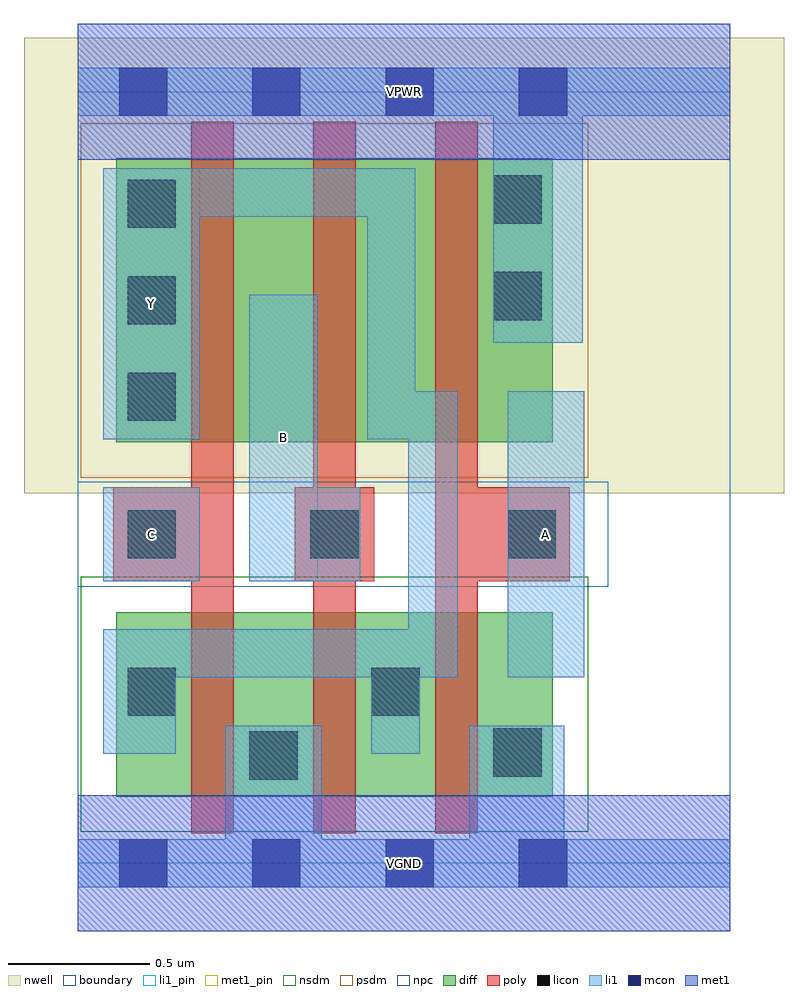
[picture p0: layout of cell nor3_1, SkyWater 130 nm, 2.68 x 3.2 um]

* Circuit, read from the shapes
.subckt nor3_1 A B C VGND VPWR Y
XM1 VGND C Y VSUBS sky130_fd_pr__nfet_01v8 w=0.65 l=0.15
XM2 Y B VGND VSUBS sky130_fd_pr__nfet_01v8 w=0.65 l=0.15
XM3 VGND A Y VSUBS sky130_fd_pr__nfet_01v8 w=0.65 l=0.15
XM4 n1 C Y n2 sky130_fd_pr__pfet_01v8 w=1 l=0.15
XM5 n3 B n1 n2 sky130_fd_pr__pfet_01v8 w=1 l=0.15
XM6 VPWR A n3 n2 sky130_fd_pr__pfet_01v8 w=1 l=0.15
.ends

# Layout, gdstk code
import gdstk
lib = gdstk.Library(unit=1e-6, precision=1e-09)
def R(c, l, rs):  # rectangles x0, y0, x1, y1
    for r in rs: c.add(gdstk.rectangle(r[:2], r[2:], *l))
def A(c, l, x, y, w, h, nx, ny, dx, dy):  # array of equal rectangles
    R(c, l, [(x+i*dx, y+j*dy, x+i*dx+w, y+j*dy+h) for i in range(nx) for j in range(ny)])
nwell = (64, 20)
diff = (65, 20)
poly = (66, 20)
licon = (66, 44)
li1_pin = (67, 16)
li1 = (67, 20)
mcon = (67, 44)
met1_pin = (68, 16)
met1 = (68, 20)
nsdm = (93, 44)
psdm = (94, 20)
npc = (95, 20)
boundary = (235, 4)

nor3_1 = lib.new_cell('nor3_1')
R(nor3_1, nwell, [(-0.19,1.305,2.49,2.91), (0,1.305,2.3,2.91)])
R(nor3_1, diff, [(0.135,0.235,1.675,0.885), (0.135,1.485,1.675,2.485)])
A(nor3_1, poly, 0.4, 0.105, 0.15, 2.51, 3, 1, 0.43, 0)
R(nor3_1, poly, [(0.125,0.995,0.55,1.325), (0.765,0.995,1.045,1.325), (1.26,0.995,1.735,1.325)])
A(nor3_1, licon, 0.175, 1.56, 0.17, 0.17, 1, 3, 0, 0.34)
R(nor3_1, licon, [(0.605,0.295,0.775,0.465), (1.465,0.305,1.635,0.475), (0.175,0.52,0.345,0.69), (1.035,0.52,1.205,0.69), (0.175,1.075,0.345,1.245), (0.82,1.075,0.99,1.245), (1.515,1.075,1.685,1.245), (1.465,1.915,1.635,2.085), (1.465,2.255,1.635,2.425)])
R(nor3_1, li1_pin, [(1.515,0.655,1.785,1.665), (0.09,0.995,0.43,1.325), (0.605,0.995,0.845,2.005), (0.09,1.495,0.43,2.45)])
R(nor3_1, li1, [(0,-0.085,2.3,0.085), (0.52,-0.085,0.86,0.485), (1.38,-0.085,1.715,0.485), (0.09,0.385,0.345,0.825), (1.035,0.385,1.205,0.825), (0.09,0.655,1.34,0.825), (1.165,0.655,1.34,1.665), (1.515,0.655,1.785,1.665), (0.09,0.995,0.43,1.325), (0.605,0.995,0.845,2.005), (0.605,0.995,0.995,1.325), (0.09,1.495,0.43,2.45), (1.02,1.495,1.19,2.45), (1.465,1.835,1.78,2.805), (0.09,2.28,1.19,2.45), (0,2.635,2.3,2.805)])
A(nor3_1, mcon, 0.145, -0.085, 0.17, 0.17, 4, 2, 0.47, 2.72)
R(nor3_1, met1_pin, [(0,-0.24,2.3,0.24), (0,2.48,2.3,2.96)])
R(nor3_1, met1, [(0,-0.24,2.3,0.24), (0,2.48,2.3,2.96)])
R(nor3_1, nsdm, [(0.01,0.11,1.8,1.01)])
R(nor3_1, psdm, [(0.01,1.36,1.8,2.61)])
R(nor3_1, npc, [(0,0.975,1.87,1.345)])
R(nor3_1, boundary, [(0,0,2.3,2.72)])
nor3_1.add(gdstk.Label('A', (1.65,1.16), layer=67, texttype=5))
nor3_1.add(gdstk.Label('B', (0.725,1.5), layer=67, texttype=5))
nor3_1.add(gdstk.Label('C', (0.26,1.16), layer=67, texttype=5))
nor3_1.add(gdstk.Label('Y', (0.26,1.972), layer=67, texttype=5))
nor3_1.add(gdstk.Label('VPWR', (1.15,2.72), layer=68, texttype=5))
nor3_1.add(gdstk.Label('VGND', (1.15,0), layer=68, texttype=5))
nor3_1.add(gdstk.Label('A', (1.65,1.16), layer=67, texttype=16))
nor3_1.add(gdstk.Label('B', (0.725,1.5), layer=67, texttype=16))
nor3_1.add(gdstk.Label('C', (0.26,1.16), layer=67, texttype=16))
nor3_1.add(gdstk.Label('Y', (0.26,1.972), layer=67, texttype=16))
nor3_1.add(gdstk.Label('VPWR', (1.15,2.72), layer=68, texttype=16))
nor3_1.add(gdstk.Label('VGND', (1.15,0), layer=68, texttype=16))

lib.write_gds('nor3_1.gds')
